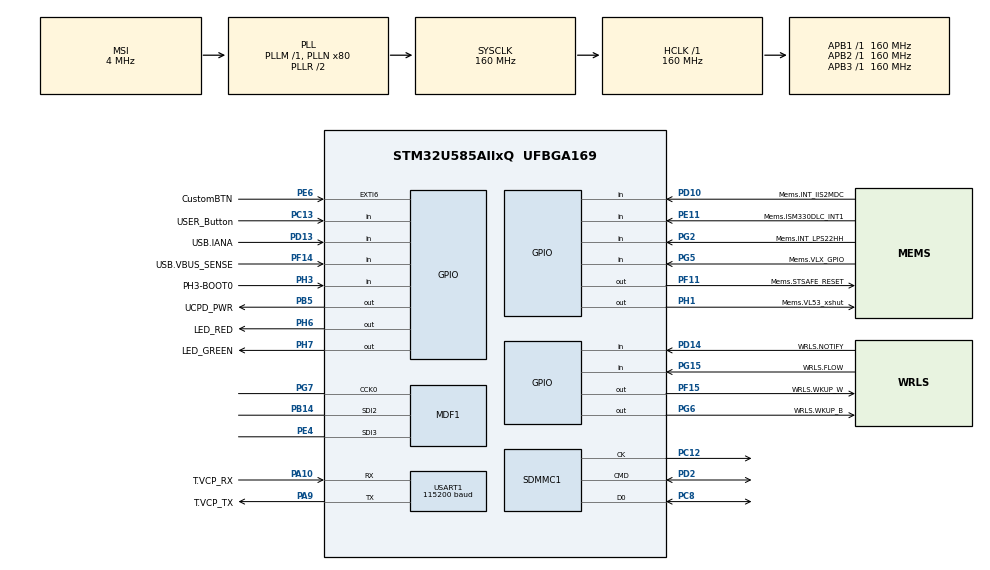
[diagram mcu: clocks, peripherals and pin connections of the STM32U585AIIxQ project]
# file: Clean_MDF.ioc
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CORTEX_M33_NS.userName=CORTEX_M33
GPDMA1.CIRCULARMODE_GPDMACH0=ENABLE
GPDMA1.ChannelPRIV_GPDMACH0=DMA_CHANNEL_NPRIV
GPDMA1.DATAHANDLING_GPDMACH0=NONE
GPDMA1.DESTBURSTLENGTH_GPDMACH0=1
GPDMA1.DESTDATAWIDTH_GPDMACH0=DMA_DEST_DATAWIDTH_HALFWORD
GPDMA1.DESTINC_GPDMACH0=DMA_DINC_INCREMENTED
GPDMA1.IPHANDLE_GPDMACH0-SIMPLEREQUEST_GPDMACH0=__NULL
GPDMA1.REQUEST_GPDMACH0=GPDMA1_REQUEST_MDF1_FLT0
GPDMA1.SRCBURSTLENGTH_GPDMACH0=1
GPDMA1.SRCDATAWIDTH_GPDMACH0=DMA_SRC_DATAWIDTH_HALFWORD
GPDMA1.TRANSFERALLOCATEDPORTDEST_GPDMACH0=DMA_DEST_ALLOCATED_PORT0
MDF1.MDF_COMPARAM_ActivationOutputClock=ENABLE
MDF1.MDF_COMPARAM_Divider=5
MDF1.MDF_COMPARAM_InterleavedFilters=3
MDF1.MDF_COMPARAM_Pins=MDF_OUTPUT_CLOCK_0
MDF1.MDF_COMPARAM_ProcClockDivider=1
MDF1.MDF_DFLT0_AcquisitionMode=MDF_MODE_ASYNC_CONT
MDF1.MDF_DFLT0_CIC_Mode=MDF_ONE_FILTER_SINC5
MDF1.MDF_DFLT0_Decimation=32
MDF1.MDF_DFLT0_FilterBistreamFront=FRONT_RISING
MDF1.MDF_DFLT0_HighPassCutOffFrequency=MDF_HPF_CUTOFF_0_00125FPCM
MDF1.MDF_DFLT0_HighPassFilterActivation=ENABLE
MDF1.MDF_DFLT0_IntegratorActivation=DISABLE
MDF1.MDF_DFLT0_ReshapeFilterActivation=ENABLE
MDF1.MDF_DFLT0_ReshapeFilterDecimationRatio=MDF_RSF_DECIMATION_RATIO_4
MDF1.MDF_DFLT0_SITF_Choice=MDF_DFLT_SITF2
MDF1.MDF_DFLT1_AcquisitionMode=MDF_MODE_ASYNC_CONT
MDF1.MDF_DFLT1_CIC_Mode=MDF_ONE_FILTER_SINC5
MDF1.MDF_DFLT1_Decimation=32
MDF1.MDF_DFLT1_FilterBistreamFront=FRONT_FALLING
MDF1.MDF_DFLT1_HighPassCutOffFrequency=MDF_HPF_CUTOFF_0_00125FPCM
MDF1.MDF_DFLT1_HighPassFilterActivation=ENABLE
MDF1.MDF_DFLT1_ReshapeFilterActivation=ENABLE
MDF1.MDF_DFLT1_ReshapeFilterDecimationRatio=MDF_RSF_DECIMATION_RATIO_4
MDF1.MDF_DFLT2_CIC_Mode=MDF_ONE_FILTER_SINC5
MDF1.MDF_DFLT2_Decimation=32
MDF1.MDF_DFLT2_HighPassCutOffFrequency=MDF_HPF_CUTOFF_0_00125FPCM
MDF1.MDF_DFLT2_HighPassFilterActivation=ENABLE
MDF1.MDF_DFLT2_ReshapeFilterActivation=ENABLE
MDF1.MDF_DFLT2_SITF_Choice=MDF_DFLT_SITF3
MDF1.MDF_DFLT3_CIC_Mode=MDF_ONE_FILTER_SINC5
MDF1.MDF_DFLT3_Decimation=32
MDF1.MDF_DFLT3_FilterBistreamFront=FRONT_FALLING
MDF1.MDF_DFLT3_HighPassCutOffFrequency=MDF_HPF_CUTOFF_0_00125FPCM
MDF1.MDF_DFLT3_HighPassFilterActivation=ENABLE
MDF1.MDF_DFLT3_ReshapeFilterActivation=ENABLE
MDF1.MDF_DFLT3_SITF_Choice=MDF_DFLT_SITF3
Mcu.Family=STM32U5
Mcu.Name=STM32U585AIIxQ
Mcu.Package=UFBGA169
NVIC.EXTI6_IRQn=true\:0\:0\:false\:false\:true\:true\:true\:true
NVIC.GPDMA1_Channel0_IRQn=true\:0\:0\:false\:false\:true\:false\:true\:true
NVIC.MDF1_FLT0_IRQn=true\:0\:0\:false\:false\:true\:true\:true\:true
NVIC.MDF1_FLT1_IRQn=true\:0\:0\:false\:false\:true\:true\:true\:true
NVIC.PriorityGroup=NVIC_PRIORITYGROUP_4
NVIC.SDMMC1_IRQn=true\:0\:0\:false\:false\:true\:true\:true\:true
PA10.GPIO_Label=T.VCP_RX
PA10.Mode=Asynchronous
PA10.Signal=USART1_RX
PA11.GPIO_Label=USB.C_P
PA11.Signal=USB_OTG_FS_DM
PA12.GPIO_Label=USB.C_P
PA12.Signal=USB_OTG_FS_DP
PA13\ (JTMS/SWDIO).GPIO_Label=T.SWDIO
PA13\ (JTMS/SWDIO).Signal=DEBUG_JTMS-SWDIO
PA14\ (JTCK/SWCLK).GPIO_Label=T.SWCLK
PA14\ (JTCK/SWCLK).Signal=DEBUG_JTCK-SWCLK
PA15\ (JTDI).GPIO_Label=USB.UCPD_CC1
PA15\ (JTDI).Signal=UCPD1_CC1
PA9.GPIO_Label=T.VCP_TX
PA9.Mode=Asynchronous
PA9.Signal=USART1_TX
PB1.GPIO_Label=MIC.SDIN0
PB1.Signal=MDF1_SDI0
PB10.GPIO_Label=OCTOSPI.R_CLK_P
PB10.Signal=OCTOSPIM_P1_CLK
PB11.GPIO_Label=OCTOSPI.R_NCS
PB11.Signal=OCTOSPIM_P1_NCS
PB12.GPIO_Label=WRLS.SPI2_NSS
PB12.Signal=SPI2_NSS
PB14.Mode=MOD_MDF_SITF2_CCK0
PB14.Signal=MDF1_SDI2
PB15.GPIO_Label=USB.UCPD_CC2
PB15.Signal=UCPD1_CC2
PB3\ (JTDO/TRACESWO).GPIO_Label=T.SWO
PB3\ (JTDO/TRACESWO).Signal=DEBUG_JTDO-SWO
PB5.GPIO_Label=UCPD_PWR
PB5.Signal=GPIO_Output
PB9.Signal=I2C1_SDA
PC12.Mode=SD_1_bit
PC12.Signal=SDMMC1_CK
PC13.GPIO_Label=USER_Button
PC13.Signal=GPIO_Input
PC14-OSC32_IN\ (PC14).GPIO_Label=PC14-OSC32_IN
PC14-OSC32_IN\ (PC14).Signal=RCC_OSC32_IN
PC15-OSC32_OUT\ (PC15).GPIO_Label=PC15-OSC32_OUT
PC15-OSC32_OUT\ (PC15).Signal=RCC_OSC32_OUT
PC3.GPIO_Label=OCTOSPI.R_IO6
PC3.Signal=OCTOSPIM_P1_IO6
PC8.Mode=SD_1_bit
PC8.Signal=SDMMC1_D0
PD1.GPIO_Label=WRLS.SPI2_SCK
PD1.Signal=SPI2_SCK
PD10.GPIO_Label=Mems.INT_IIS2MDC
PD10.Signal=GPIO_Input
PD13.GPIO_Label=USB.IANA
PD13.Signal=GPIO_Input
PD14.GPIO_Label=WRLS.NOTIFY
PD14.Signal=GPIO_Input
PD2.Mode=SD_1_bit
PD2.Signal=SDMMC1_CMD
PD3.GPIO_Label=WRLS.SPI2_MISO
PD3.Signal=SPI2_MISO
PD4.GPIO_Label=WRLS.SPI2_MOSI
PD4.Signal=SPI2_MOSI
PD7.GPIO_Label=OCTOSPI.R_IO7
PD7.Signal=OCTOSPIM_P1_IO7
PE10.GPIO_Label=MIC.SDINx
PE10.Signal=ADF1_SDI0
PE11.GPIO_Label=Mems.ISM330DLC_INT1
PE11.Signal=GPIO_Input
PE3.GPIO_Label=OCTOSPI.R_DQS
PE3.Signal=OCTOSPIM_P1_DQS
PE4.Mode=MOD_MDF_SITF3_CCK0
PE4.Signal=MDF1_SDI3
PE6.GPIO_Label=CustomBTN
PE6.GPIO_PuPd=GPIO_PULLDOWN
PE6.Signal=GPXTI6
PE9.GPIO_Label=MIC.CCK0
PE9.Signal=ADF1_CCK0
PF0.GPIO_Label=OCTOSPI.F_IO0
PF0.Signal=OCTOSPIM_P2_IO0
PF1.GPIO_Label=OCTOSPI.F_IO1
PF1.Signal=OCTOSPIM_P2_IO1
PF10.GPIO_Label=MIC.CCK1
PF10.Signal=MDF1_CCK1
PF11.GPIO_Label=Mems.STSAFE_RESET
PF11.Signal=GPIO_Output
PF12.GPIO_Label=OCTOSPI.F_DQS
PF12.Signal=OCTOSPIM_P2_DQS
PF14.GPIO_Label=USB.VBUS_SENSE
PF14.Signal=GPIO_Input
PF15.GPIO_Label=WRLS.WKUP_W
PF15.Signal=GPIO_Output
PF2.GPIO_Label=OCTOSPI.F_IO2
PF2.Signal=OCTOSPIM_P2_IO2
PF3.GPIO_Label=OCTOSPI.F_IO3
PF3.Signal=OCTOSPIM_P2_IO3
PF4.GPIO_Label=OCTOSPI.F_CLK_P
PF4.Signal=OCTOSPIM_P2_CLK
PF6.GPIO_Label=OCTOSPI.R_IO3
PF6.Signal=OCTOSPIM_P1_IO3
PF7.GPIO_Label=OCTOSPI.R_IO2
PF7.Signal=OCTOSPIM_P1_IO2
PF8.GPIO_Label=OCTOSPI.R_IO0
PF8.Signal=OCTOSPIM_P1_IO0
PF9.GPIO_Label=OCTOSPI.R_IO1
PF9.Signal=OCTOSPIM_P1_IO1
PG15.GPIO_Label=WRLS.FLOW
PG15.Signal=GPIO_Input
PG2.GPIO_Label=Mems.INT_LPS22HH
PG2.Signal=GPIO_Input
PG5.GPIO_Label=Mems.VLX_GPIO
PG5.Signal=GPIO_Input
PG6.GPIO_Label=WRLS.WKUP_B
PG6.Signal=GPIO_Output
PG7.Mode=MOD_MDF_CCK0
PG7.Signal=MDF1_CCK0
PH1-OSC_OUT\ (PH1).GPIO_Label=Mems.VL53_xshut
PH1-OSC_OUT\ (PH1).Signal=GPIO_Output
PH10.GPIO_Label=OCTOSPI.F_IO5
PH10.Signal=OCTOSPIM_P2_IO5
PH11.GPIO_Label=OCTOSPI.F_IO6
PH11.Signal=OCTOSPIM_P2_IO6
PH12.GPIO_Label=OCTOSPI.F_IO7
PH12.Signal=OCTOSPIM_P2_IO7
PH2.GPIO_Label=OCTOSPI.R_IO4
PH2.Signal=OCTOSPIM_P1_IO4
PH3-BOOT0.GPIO_Label=PH3-BOOT0
PH3-BOOT0.Signal=GPIO_Input
PH4.Signal=I2C2_SCL
PH5.Signal=I2C2_SDA
PH6.GPIO_Label=LED_RED
PH6.PinState=GPIO_PIN_RESET
PH6.Signal=GPIO_Output
PH7.GPIO_Label=LED_GREEN
PH7.PinState=GPIO_PIN_RESET
PH7.Signal=GPIO_Output
PH9.GPIO_Label=OCTOSPI.F_IO4
PH9.Signal=OCTOSPIM_P2_IO4
PI0.GPIO_Label=OCTOSPI.R_IO5
PI0.Signal=OCTOSPIM_P1_IO5
PI5.GPIO_Label=OCTOSPI.F_NCS
PI5.Signal=OCTOSPIM_P2_NCS
PWR.PowerMode=PWR_SMPS_SUPPLY
ProjectManager.HeapSize=0x200
ProjectManager.StackSize=0x400
ProjectManager.TargetToolchain=CMake
RCC.ADCFreq_Value=16000000
RCC.AHBFreq_Value=160000000
RCC.APB1Freq_Value=160000000
RCC.APB1TimFreq_Value=160000000
RCC.APB2Freq_Value=160000000
RCC.APB2TimFreq_Value=160000000
RCC.APB3Freq_Value=160000000
RCC.CortexFreq_Value=160000000
RCC.DACCLockSelectionVirtual=RCC_DAC1CLKSOURCE_LSI
RCC.EPOD_VALUE=4000000
RCC.HCLKFreq_Value=160000000
RCC.HSE_VALUE=16000000
RCC.HSI48_VALUE=48000000
RCC.HSI_VALUE=16000000
RCC.LSE_VALUE=32768
RCC.LSIDIV_VALUE=32000
RCC.MSIKClockRange=RCC_MSIKRANGE_3
RCC.MSI_VALUE=4000000
RCC.MdfClockSelection=RCC_MDF1CLKSOURCE_PLL1
RCC.PLL1P=31
RCC.PLL2FRACN=0
RCC.PLL3FRACN=0
RCC.PLL3N=85
RCC.PLL3Q=28
RCC.PLLFRACN=0
RCC.PLLN=80
RCC.SYSCLKFreq_VALUE=160000000
RCC.SYSCLKSource=RCC_SYSCLKSOURCE_PLLCLK
RCC.USBFreq_Value=48000000
RCC.VCOOutputFreq_Value=320000000
USART1.BaudRate=115200
USART1.VirtualMode-Asynchronous=VM_ASYNC
VP_GPDMA1_VS_GPDMACH0.Mode=SIMPLEREQUEST_GPDMACH0
VP_ICACHE_VS_ICACHE.Mode=DirectMappedCache
VP_LPBAMQUEUE_VS_QUEUE.Mode=QUEUEMODE
VP_LPBAM_VS_SIG1.Mode=SmartRun
VP_LPBAM_VS_SIG4.Mode=LPDMA1
VP_MDF1_VS_MDF_DFLT0.Mode=MOD_MDF_DFLT0
VP_MDF1_VS_MDF_DFLT1.Mode=MOD_MDF_DFLT1
VP_MDF1_VS_MDF_DFLT2.Mode=MOD_MDF_DFLT2
VP_MDF1_VS_MDF_DFLT3.Mode=MOD_MDF_DFLT3
VP_MEMORYMAP_VS_MEMORYMAP.Mode=CurAppReg
VP_PWR_VS_LPOM.Mode=PowerOptimisation
VP_PWR_VS_SECSignals.Mode=Security/Privilege
board=B-U585I-IOT02A

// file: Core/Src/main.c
/* USER CODE BEGIN Header */
/**
  ******************************************************************************
  * @file           : main.c
  * @bri%uef          : Main program body
  ******************************************************************************
  * @attention
  *
  * Copyright (c) 2025 STMicroelectronics.
  * All rights reserved.
  *
  * This software is licensed under terms that can be found in the LICENSE file
  * in the root directory of this software component.
  * If no LICENSE file comes with this software, it is provided AS-IS.
  *
  ******************************************************************************
  */
/* USER CODE END Header */
#include "main.h"

/* USER CODE BEGIN Includes */
#include <stdint.h>
#include <stdio.h>
#include <inttypes.h>
#include <math.h>
#include "app_pipeline.h"
#include "ff.h"
#include "sd_diskio_dma_standalone.h"
#include "stm32u5xx.h"
#include "stm32u5xx_hal.h"
#include "stm32u5xx_hal_conf.h"
#include "stm32u5xx_hal_def.h"
#include "stm32u5xx_hal_gpio.h"
#include "stm32u5xx_hal_mdf.h"
#include "stm32u5xx_hal_uart.h"
/* USER CODE END Includes */

MDF_HandleTypeDef MdfHandle0;
MDF_FilterConfigTypeDef MdfFilterConfig0;
MDF_HandleTypeDef MdfHandle1;
MDF_FilterConfigTypeDef MdfFilterConfig1;
MDF_HandleTypeDef MdfHandle2;
MDF_FilterConfigTypeDef MdfFilterConfig2;
MDF_HandleTypeDef MdfHandle3;
MDF_FilterConfigTypeDef MdfFilterConfig3;
DMA_NodeTypeDef Node_GPDMA1_Channel0;
DMA_QListTypeDef List_GPDMA1_Channel0;
DMA_HandleTypeDef handle_GPDMA1_Channel0;

SD_HandleTypeDef hsd1;

UART_HandleTypeDef huart1;

/* USER CODE BEGIN PV */
// flag for next audio
uint8_t NEXT_AUDIO = 0;
/* ----number of back to back recordings ----*/

uint32_t total = 4;
uint32_t time = 1;

/* -------------buffers for DMAs----(setup)---- */
#define SAMPLES_COUNT 4096

#define SAMPLES_BYTES SAMPLES_COUNT*2
#define HALFSAMPLES SAMPLES_COUNT/2
#define HALFSAMPLESBYTES SAMPLES_BYTES/2
volatile int16_t INTLVD[SAMPLES_COUNT] __attribute__((aligned(32)));
int8_t  INTLVD_ready = 1;
uint8_t first = 1;
int32_t bytes_recorded = 0;

uint8_t MDF_DMA_ERROR_FLAG = 0;

// uint16_t SDBUFFER1[SAMPLES_COUNT/2] __attribute__((aligned(32)));
// uint16_t SDBUFFER2[SAMPLES_COUNT/2] __attribute__((aligned(32)));
volatile uint16_t* SDBUFFER1 = (uint16_t*)INTLVD;
volatile uint16_t* SDBUFFER2 = (uint16_t*)INTLVD + HALFSAMPLES;

/* --------DMA FLAGS-------------*/
volatile uint8_t CPLT, HALFCPLT = 0;
uint8_t MDFTESTFLAG = 0;

/* USER CODE END PV */

void SystemClock_Config(void);
static void SystemPower_Config(void);
static void MX_GPIO_Init(void);
static void MX_GPDMA1_Init(void);
static void MX_ICACHE_Init(void);
static void MX_USART1_UART_Init(void);
static void MX_MDF1_Init(void);
static void MX_SDMMC1_SD_Init(void);

/* USER CODE BEGIN 0 */
  int _write(int file, char *ptr, int len)
  {
    HAL_UART_Transmit(&huart1, (uint8_t*)ptr, len, HAL_MAX_DELAY);

    return len;
  }
  void start_recording(uint32_t number);

/* USER CODE END 0 */

int main(void)
{

  /* MCU Configuration--------------------------------------------------------*/

  /* Reset of all peripherals, Initializes the Flash interface and the Systick. */
  HAL_Init();

  /* Configure the System Power */
  SystemPower_Config();

  /* Configure the system clock */
  SystemClock_Config();

  /* Initialize all configured peripherals */
  MX_GPIO_Init();
  MX_GPDMA1_Init();
  MX_ICACHE_Init();
  MX_USART1_UART_Init();
  MX_MDF1_Init();
  MX_SDMMC1_SD_Init();
  /* USER CODE BEGIN 2 */

  /* -----------SETUP THE MICROPHONE ACQUISITION--------------*/

  // auto st = HAL_SD_GetCardInfo(&hsd1, &pCardInfo);
  // set up the mdf's dma transfer config
  MDF_DmaConfigTypeDef pDmaConfig;
  pDmaConfig.MsbOnly = ENABLE;
  pDmaConfig.Address = (uint32_t) INTLVD;
  pDmaConfig.DataLength = SAMPLES_COUNT * 2;

  if(SD_Pipeline_Init() != PIPELINE_OK){
    printf("init of sd failed\n");
  }

void start_recording(uint32_t number){

  /*--------------INITIALISE WAV FILE TO BE WRITTEN----------*/

  if(SD_Pipeline_NewRec("birda", number, 16000, 4, 16,time)!=PIPELINE_OK){
    printf("init of pipeline failed\n");
  }

  /* start interleaved transfer  */
  if(HAL_MDF_AcqStart(&MdfHandle1, &MdfFilterConfig1) != HAL_OK){
    printf("2nd filter failed\n");
    HAL_Delay(HAL_MAX_DELAY);
  }
  if(HAL_MDF_AcqStart(&MdfHandle2, &MdfFilterConfig2) != HAL_OK){
    printf("3rd filter failed\n");
    HAL_Delay(HAL_MAX_DELAY);
  }
  if(HAL_MDF_AcqStart(&MdfHandle3, &MdfFilterConfig3) != HAL_OK){
    printf("4th filter failed\n");
    HAL_Delay(HAL_MAX_DELAY);
  }
  // sart filter 0 with DMA as the interleaved data goes through filter 0
  if(HAL_MDF_AcqStart_DMA(&MdfHandle0, &MdfFilterConfig0, &pDmaConfig) != HAL_OK){
    printf("DMA failed\n");
    f_close(&SD_File_PIPELINE);
  }
}

uint32_t iteration = total;

printf("starting new dataset!\n");

  /* USER CODE END 2 */

  /* Infinite loop */
  /* USER CODE BEGIN WHILE */

  /* --------- test of microphone without SDCard --------*/
  if(MDFTESTFLAG){
    printf("debug initiated\n");
    while(1){
      if(CPLT){
        CPLT = 0;
        HAL_UART_Transmit(&huart1, (uint8_t*)INTLVD, sizeof(INTLVD), HAL_MAX_DELAY);
      }
    }
  }

  /*-----------HANDLE THE SD CARD TRANSFER LOGIC-----------------*/
    while (1)
    {

      //if transfer complete
      if (INTLVD_ready)
      {
        /* -------finish current transfer --------*/
        if(!first){
        HAL_MDF_AcqStop_DMA(&MdfHandle0);
        HAL_MDF_AcqStop(&MdfHandle1);
        HAL_MDF_AcqStop(&MdfHandle2);
        HAL_MDF_AcqStop(&MdfHandle3);

        SD_Pipeline_StopRec();
        printf("[Debug] SUCCESS! File creation complete\n");
        }
        else{
          first = 0;
        }
        INTLVD_ready = 0;

        /*----if necessary start next transfer ----*/
        if(iteration > 0){

          iteration--;

          // RECORDING
          start_recording(total - iteration);
          printf("press btn for new recording\n");
          NEXT_AUDIO = 0;
          // Loop while waiting for button to be pressed to initiate next recoriding
          while(NEXT_AUDIO == 0){}

          printf("Started recording %ld!\n\n%ld recordings left\n\n", total - iteration, iteration);
          // // start recording before countdown, to avoid the starting blip
          // // COUNT DOWN BEFORE RECORDING
          // int timer = 2;
          // printf("recording # %ld of %ld \n", total - iteration, total);
          // for(int i = timer; i>0; i--){
          //   printf("%d...\n", i);
          //   HAL_Delay(1000);
          // }
          // printf("GO!\n");

        }
        else{
          printf("COMPLETE! :) \n");
          while(1){
            HAL_Delay(500);
            HAL_GPIO_TogglePin(LED_GREEN_GPIO_Port, LED_GREEN_Pin);
          }
        }

      }

      if (MDF_DMA_ERROR_FLAG) {
        printf("MDF DMA ERROR");
        MDF_DMA_ERROR_FLAG = 0;

        while(1){
        HAL_GPIO_TogglePin(LED_RED_GPIO_Port, LED_RED_Pin);
        HAL_Delay(200);
        }
      }
      //HANDLE DMA INTERRUPT CALLS
      if(HALFCPLT){
        //unset flag
        HALFCPLT = 0;

        //calculate how many bytes are left in audio recording
        int32_t temp = (bytes_to_read<HALFSAMPLESBYTES) ? bytes_to_read : HALFSAMPLESBYTES;

        //if more than zero, continue - else set flag for completed transfer
        if(temp > 0){
        if(SD_Pipeline_Write((uint8_t*) SDBUFFER1, temp) != PIPELINE_OK)MDF_DMA_ERROR_FLAG = 1;

        // decrement bytes to read
        bytes_to_read = bytes_to_read - temp;
        }
        else{
          INTLVD_ready = 1;
        }
      }

      //duplicate above logic
      if(CPLT){
        // int32_t write_start = HAL_GetTick();
        //unset flag
        CPLT = 0;
        //calculate how many bytes are left in audio recording
        int32_t temp = (bytes_to_read<HALFSAMPLESBYTES) ? bytes_to_read : HALFSAMPLESBYTES;

        //if more than zero, continue - else set flag for completed transfer
        if(temp > 0){
        if(SD_Pipeline_Write((uint8_t*) SDBUFFER2, temp) != PIPELINE_OK) MDF_DMA_ERROR_FLAG = 1;

        //decrement bytes to read
        bytes_to_read = bytes_to_read - temp;
        // int32_t write_end = HAL_GetTick();
        // printf("wrote %li bytes in %li ms\n",temp, write_end-write_start);
        }
        else{
          INTLVD_ready = 1;
        }
      }
    }

    /* USER CODE END WHILE */

}

void SystemClock_Config(void)
{
  RCC_OscInitTypeDef RCC_OscInitStruct = {0};
  RCC_ClkInitTypeDef RCC_ClkInitStruct = {0};

  /** Configure the main internal regulator output voltage
  */
  if (HAL_PWREx_ControlVoltageScaling(PWR_REGULATOR_VOLTAGE_SCALE1) != HAL_OK)
  {
    Error_Handler();
  }

  /** Initializes the CPU, AHB and APB buses clocks
  */
  RCC_OscInitStruct.OscillatorType = RCC_OSCILLATORTYPE_MSI;
  RCC_OscInitStruct.MSIState = RCC_MSI_ON;
  RCC_OscInitStruct.MSICalibrationValue = RCC_MSICALIBRATION_DEFAULT;
  RCC_OscInitStruct.MSIClockRange = RCC_MSIRANGE_4;
  RCC_OscInitStruct.PLL.PLLState = RCC_PLL_ON;
  RCC_OscInitStruct.PLL.PLLSource = RCC_PLLSOURCE_MSI;
  RCC_OscInitStruct.PLL.PLLMBOOST = RCC_PLLMBOOST_DIV1;
  RCC_OscInitStruct.PLL.PLLM = 1;
  RCC_OscInitStruct.PLL.PLLN = 80;
  RCC_OscInitStruct.PLL.PLLP = 31;
  RCC_OscInitStruct.PLL.PLLQ = 2;
  RCC_OscInitStruct.PLL.PLLR = 2;
  RCC_OscInitStruct.PLL.PLLRGE = RCC_PLLVCIRANGE_0;
  RCC_OscInitStruct.PLL.PLLFRACN = 0;
  if (HAL_RCC_OscConfig(&RCC_OscInitStruct) != HAL_OK)
  {
    Error_Handler();
  }

  /** Initializes the CPU, AHB and APB buses clocks
  */
  RCC_ClkInitStruct.ClockType = RCC_CLOCKTYPE_HCLK|RCC_CLOCKTYPE_SYSCLK
                              |RCC_CLOCKTYPE_PCLK1|RCC_CLOCKTYPE_PCLK2
                              |RCC_CLOCKTYPE_PCLK3;
  RCC_ClkInitStruct.SYSCLKSource = RCC_SYSCLKSOURCE_PLLCLK;
  RCC_ClkInitStruct.AHBCLKDivider = RCC_SYSCLK_DIV1;
  RCC_ClkInitStruct.APB1CLKDivider = RCC_HCLK_DIV1;
  RCC_ClkInitStruct.APB2CLKDivider = RCC_HCLK_DIV1;
  RCC_ClkInitStruct.APB3CLKDivider = RCC_HCLK_DIV1;

  if (HAL_RCC_ClockConfig(&RCC_ClkInitStruct, FLASH_LATENCY_4) != HAL_OK)
  {
    Error_Handler();
  }
}

/**
  * @brief Power Configuration
  * @retval None
  */
static void SystemPower_Config(void)
{
  HAL_PWREx_EnableVddIO2();

  /*
   * Switch to SMPS regulator instead of LDO
   */
  if (HAL_PWREx_ConfigSupply(PWR_SMPS_SUPPLY) != HAL_OK)
  {
    Error_Handler();
  }
}

static void MX_GPDMA1_Init(void)
{

  /* Peripheral clock enable */
  __HAL_RCC_GPDMA1_CLK_ENABLE();

  /* GPDMA1 interrupt Init */
    HAL_NVIC_SetPriority(GPDMA1_Channel0_IRQn, 0, 0);
    HAL_NVIC_EnableIRQ(GPDMA1_Channel0_IRQn);

}

static void MX_ICACHE_Init(void)
{

  /** Enable instruction cache in 1-way (direct mapped cache)
  */
  if (HAL_ICACHE_ConfigAssociativityMode(ICACHE_1WAY) != HAL_OK)
  {
    Error_Handler();
  }
  if (HAL_ICACHE_Enable() != HAL_OK)
  {
    Error_Handler();
  }

}

static void MX_MDF1_Init(void)
{

  /* USER CODE BEGIN MDF1_Init 0 */
  MdfHandle0.Init.FilterBistream = MDF_BITSTREAM2_RISING; // mic with nice headers
  MdfHandle1.Init.FilterBistream = MDF_BITSTREAM2_FALLING; // mic with habsburg headers

  /* USER CODE END MDF1_Init 0 */

  /**
    MdfHandle0 structure initialization and HAL_MDF_Init function call
  */
  MdfHandle0.Instance = MDF1_Filter0;
  MdfHandle0.Init.CommonParam.InterleavedFilters = 3;
  MdfHandle0.Init.CommonParam.ProcClockDivider = 1;
  MdfHandle0.Init.CommonParam.OutputClock.Activation = ENABLE;
  MdfHandle0.Init.CommonParam.OutputClock.Pins = MDF_OUTPUT_CLOCK_0;
  MdfHandle0.Init.CommonParam.OutputClock.Divider = 5;
  MdfHandle0.Init.CommonParam.OutputClock.Trigger.Activation = DISABLE;
  MdfHandle0.Init.SerialInterface.Activation = DISABLE;
  if (HAL_MDF_Init(&MdfHandle0) != HAL_OK)
  {
    Error_Handler();
  }

  /**
    MdfFilterConfig0, MdfOldConfig0 and/or MdfScdConfig0 structures initialization

    WARNING : only structures are filled, no specific init function call for filter
  */
  MdfFilterConfig0.DataSource = MDF_DATA_SOURCE_BSMX;
  MdfFilterConfig0.Delay = 0;
  MdfFilterConfig0.CicMode = MDF_ONE_FILTER_SINC5;
  MdfFilterConfig0.DecimationRatio = 32;
  MdfFilterConfig0.Offset = 0;
  MdfFilterConfig0.Gain = 0;
  MdfFilterConfig0.ReshapeFilter.Activation = ENABLE;
  MdfFilterConfig0.ReshapeFilter.DecimationRatio = MDF_RSF_DECIMATION_RATIO_4;
  MdfFilterConfig0.HighPassFilter.Activation = ENABLE;
  MdfFilterConfig0.HighPassFilter.CutOffFrequency = MDF_HPF_CUTOFF_0_00125FPCM;
  MdfFilterConfig0.Integrator.Activation = DISABLE;
  MdfFilterConfig0.SoundActivity.Activation = DISABLE;
  MdfFilterConfig0.AcquisitionMode = MDF_MODE_ASYNC_CONT;
  MdfFilterConfig0.FifoThreshold = MDF_FIFO_THRESHOLD_NOT_EMPTY;
  MdfFilterConfig0.DiscardSamples = 0;

  /**
    MdfHandle1 structure initialization and HAL_MDF_Init function call
  */
  MdfHandle1.Instance = MDF1_Filter1;
  MdfHandle1.Init.CommonParam.InterleavedFilters = 3;
  MdfHandle1.Init.CommonParam.ProcClockDivider = 1;
  MdfHandle1.Init.CommonParam.OutputClock.Activation = ENABLE;
  MdfHandle1.Init.CommonParam.OutputClock.Pins = MDF_OUTPUT_CLOCK_0;
  MdfHandle1.Init.CommonParam.OutputClock.Divider = 5;
  MdfHandle1.Init.CommonParam.OutputClock.Trigger.Activation = DISABLE;
  MdfHandle1.Init.SerialInterface.Activation = DISABLE;
  if (HAL_MDF_Init(&MdfHandle1) != HAL_OK)
  {
    Error_Handler();
  }

  /**
    MdfFilterConfig1, MdfOldConfig1 and/or MdfScdConfig1 structures initialization

    WARNING : only structures are filled, no specific init function call for filter
  */
  MdfFilterConfig1.DataSource = MDF_DATA_SOURCE_BSMX;
  MdfFilterConfig1.Delay = 0;
  MdfFilterConfig1.CicMode = MDF_ONE_FILTER_SINC5;
  MdfFilterConfig1.DecimationRatio = 32;
  MdfFilterConfig1.Offset = 0;
  MdfFilterConfig1.Gain = 0;
  MdfFilterConfig1.ReshapeFilter.Activation = ENABLE;
  MdfFilterConfig1.ReshapeFilter.DecimationRatio = MDF_RSF_DECIMATION_RATIO_4;
  MdfFilterConfig1.HighPassFilter.Activation = ENABLE;
  MdfFilterConfig1.HighPassFilter.CutOffFrequency = MDF_HPF_CUTOFF_0_00125FPCM;
  MdfFilterConfig1.Integrator.Activation = DISABLE;
  MdfFilterConfig1.AcquisitionMode = MDF_MODE_ASYNC_CONT;
  MdfFilterConfig1.FifoThreshold = MDF_FIFO_THRESHOLD_NOT_EMPTY;
  MdfFilterConfig1.DiscardSamples = 0;

  /**
    MdfHandle2 structure initialization and HAL_MDF_Init function call
  */
  MdfHandle2.Instance = MDF1_Filter2;
  MdfHandle2.Init.CommonParam.InterleavedFilters = 3;
  MdfHandle2.Init.CommonParam.ProcClockDivider = 1;
  MdfHandle2.Init.CommonParam.OutputClock.Activation = ENABLE;
  MdfHandle2.Init.CommonParam.OutputClock.Pins = MDF_OUTPUT_CLOCK_0;
  MdfHandle2.Init.CommonParam.OutputClock.Divider = 5;
  MdfHandle2.Init.CommonParam.OutputClock.Trigger.Activation = DISABLE;
  MdfHandle2.Init.SerialInterface.Activation = ENABLE;
  MdfHandle2.Init.SerialInterface.Mode = MDF_SITF_LF_MASTER_SPI_MODE;
  MdfHandle2.Init.SerialInterface.ClockSource = MDF_SITF_CCK0_SOURCE;
  MdfHandle2.Init.SerialInterface.Threshold = 4;
  MdfHandle2.Init.FilterBistream = MDF_BITSTREAM3_RISING;
  if (HAL_MDF_Init(&MdfHandle2) != HAL_OK)
  {
    Error_Handler();
  }

  /**
    MdfFilterConfig2, MdfOldConfig2 and/or MdfScdConfig2 structures initialization

    WARNING : only structures are filled, no specific init function call for filter
  */
  MdfFilterConfig2.DataSource = MDF_DATA_SOURCE_BSMX;
  MdfFilterConfig2.Delay = 0;
  MdfFilterConfig2.CicMode = MDF_ONE_FILTER_SINC5;
  MdfFilterConfig2.DecimationRatio = 32;
  MdfFilterConfig2.Offset = 0;
  MdfFilterConfig2.Gain = 0;
  MdfFilterConfig2.ReshapeFilter.Activation = ENABLE;
  MdfFilterConfig2.ReshapeFilter.DecimationRatio = MDF_RSF_DECIMATION_RATIO_4;
  MdfFilterConfig2.HighPassFilter.Activation = ENABLE;
  MdfFilterConfig2.HighPassFilter.CutOffFrequency = MDF_HPF_CUTOFF_0_00125FPCM;
  MdfFilterConfig2.Integrator.Activation = DISABLE;
  MdfFilterConfig2.SoundActivity.Activation = DISABLE;
  MdfFilterConfig2.AcquisitionMode = MDF_MODE_ASYNC_CONT;
  MdfFilterConfig2.FifoThreshold = MDF_FIFO_THRESHOLD_NOT_EMPTY;
  MdfFilterConfig2.DiscardSamples = 0;

  /**
    MdfHandle3 structure initialization and HAL_MDF_Init function call
  */
  MdfHandle3.Instance = MDF1_Filter3;
  MdfHandle3.Init.CommonParam.InterleavedFilters = 3;
  MdfHandle3.Init.CommonParam.ProcClockDivider = 1;
  MdfHandle3.Init.CommonParam.OutputClock.Activation = ENABLE;
  MdfHandle3.Init.CommonParam.OutputClock.Pins = MDF_OUTPUT_CLOCK_0;
  MdfHandle3.Init.CommonParam.OutputClock.Divider = 5;
  MdfHandle3.Init.CommonParam.OutputClock.Trigger.Activation = DISABLE;
  MdfHandle3.Init.SerialInterface.Activation = ENABLE;
  MdfHandle3.Init.SerialInterface.Mode = MDF_SITF_LF_MASTER_SPI_MODE;
  MdfHandle3.Init.SerialInterface.ClockSource = MDF_SITF_CCK0_SOURCE;
  MdfHandle3.Init.SerialInterface.Threshold = 4;
  MdfHandle3.Init.FilterBistream = MDF_BITSTREAM3_FALLING;
  if (HAL_MDF_Init(&MdfHandle3) != HAL_OK)
  {
    Error_Handler();
  }

  /**
    MdfFilterConfig3, MdfOldConfig3 and/or MdfScdConfig3 structures initialization

    WARNING : only structures are filled, no specific init function call for filter
  */
  MdfFilterConfig3.DataSource = MDF_DATA_SOURCE_BSMX;
  MdfFilterConfig3.Delay = 0;
  MdfFilterConfig3.CicMode = MDF_ONE_FILTER_SINC5;
  MdfFilterConfig3.DecimationRatio = 32;
  MdfFilterConfig3.Offset = 0;
  MdfFilterConfig3.Gain = 0;
  MdfFilterConfig3.ReshapeFilter.Activation = ENABLE;
  MdfFilterConfig3.ReshapeFilter.DecimationRatio = MDF_RSF_DECIMATION_RATIO_4;
  MdfFilterConfig3.HighPassFilter.Activation = ENABLE;
  MdfFilterConfig3.HighPassFilter.CutOffFrequency = MDF_HPF_CUTOFF_0_00125FPCM;
  MdfFilterConfig3.Integrator.Activation = DISABLE;
  MdfFilterConfig3.SoundActivity.Activation = DISABLE;
  MdfFilterConfig3.AcquisitionMode = MDF_MODE_ASYNC_CONT;
  MdfFilterConfig3.FifoThreshold = MDF_FIFO_THRESHOLD_NOT_EMPTY;
  MdfFilterConfig3.DiscardSamples = 0;
  /* USER CODE BEGIN MDF1_Init 2 */
  // __HAL_LINKDMA(&MdfHandle0, hdma, handle_GPDMA1_Channel0);

  /* USER CODE END MDF1_Init 2 */

}

static void MX_SDMMC1_SD_Init(void)
{

  hsd1.Instance = SDMMC1;
  hsd1.Init.ClockEdge = SDMMC_CLOCK_EDGE_RISING;
  hsd1.Init.ClockPowerSave = SDMMC_CLOCK_POWER_SAVE_DISABLE;
  hsd1.Init.BusWide = SDMMC_BUS_WIDE_1B;
  hsd1.Init.HardwareFlowControl = SDMMC_HARDWARE_FLOW_CONTROL_DISABLE;
  hsd1.Init.ClockDiv = 0;
  if (HAL_SD_Init(&hsd1) != HAL_OK)
  {
    Error_Handler();
  }

}

static void MX_USART1_UART_Init(void)
{

  huart1.Instance = USART1;
  huart1.Init.BaudRate = 115200;
  huart1.Init.WordLength = UART_WORDLENGTH_8B;
  huart1.Init.StopBits = UART_STOPBITS_1;
  huart1.Init.Parity = UART_PARITY_NONE;
  huart1.Init.Mode = UART_MODE_TX_RX;
  huart1.Init.HwFlowCtl = UART_HWCONTROL_NONE;
  huart1.Init.OverSampling = UART_OVERSAMPLING_16;
  huart1.Init.OneBitSampling = UART_ONE_BIT_SAMPLE_DISABLE;
  huart1.Init.ClockPrescaler = UART_PRESCALER_DIV1;
  huart1.AdvancedInit.AdvFeatureInit = UART_ADVFEATURE_NO_INIT;
  if (HAL_UART_Init(&huart1) != HAL_OK)
  {
    Error_Handler();
  }
  if (HAL_UARTEx_SetTxFifoThreshold(&huart1, UART_TXFIFO_THRESHOLD_1_8) != HAL_OK)
  {
    Error_Handler();
  }
  if (HAL_UARTEx_SetRxFifoThreshold(&huart1, UART_RXFIFO_THRESHOLD_1_8) != HAL_OK)
  {
    Error_Handler();
  }
  if (HAL_UARTEx_DisableFifoMode(&huart1) != HAL_OK)
  {
    Error_Handler();
  }

}

static void MX_GPIO_Init(void)
{
  GPIO_InitTypeDef GPIO_InitStruct = {0};

  /* GPIO Ports Clock Enable */
  __HAL_RCC_GPIOG_CLK_ENABLE();
  __HAL_RCC_GPIOA_CLK_ENABLE();
  __HAL_RCC_GPIOI_CLK_ENABLE();
  __HAL_RCC_GPIOH_CLK_ENABLE();
  __HAL_RCC_GPIOE_CLK_ENABLE();
  __HAL_RCC_GPIOB_CLK_ENABLE();
  __HAL_RCC_GPIOD_CLK_ENABLE();
  __HAL_RCC_GPIOC_CLK_ENABLE();
  __HAL_RCC_GPIOF_CLK_ENABLE();

  /*Configure GPIO pin Output Level */
  HAL_GPIO_WritePin(UCPD_PWR_GPIO_Port, UCPD_PWR_Pin, GPIO_PIN_RESET);

  /*Configure GPIO pin Output Level */
  HAL_GPIO_WritePin(GPIOH, LED_RED_Pin|LED_GREEN_Pin|Mems_VL53_xshut_Pin, GPIO_PIN_RESET);

  /*Configure GPIO pin Output Level */
  HAL_GPIO_WritePin(WRLS_WKUP_B_GPIO_Port, WRLS_WKUP_B_Pin, GPIO_PIN_RESET);

  /*Configure GPIO pin Output Level */
  HAL_GPIO_WritePin(GPIOF, Mems_STSAFE_RESET_Pin|WRLS_WKUP_W_Pin, GPIO_PIN_RESET);

  /*Configure GPIO pins : WRLS_FLOW_Pin Mems_VLX_GPIO_Pin Mems_INT_LPS22HH_Pin */
  GPIO_InitStruct.Pin = WRLS_FLOW_Pin|Mems_VLX_GPIO_Pin|Mems_INT_LPS22HH_Pin;
  GPIO_InitStruct.Mode = GPIO_MODE_INPUT;
  GPIO_InitStruct.Pull = GPIO_NOPULL;
  HAL_GPIO_Init(GPIOG, &GPIO_InitStruct);

  /*Configure GPIO pin : USB_UCPD_CC1_Pin */
  GPIO_InitStruct.Pin = USB_UCPD_CC1_Pin;
  GPIO_InitStruct.Mode = GPIO_MODE_ANALOG;
  GPIO_InitStruct.Pull = GPIO_NOPULL;
  HAL_GPIO_Init(USB_UCPD_CC1_GPIO_Port, &GPIO_InitStruct);

  /*Configure GPIO pin : OCTOSPI_F_NCS_Pin */
  GPIO_InitStruct.Pin = OCTOSPI_F_NCS_Pin;
  GPIO_InitStruct.Mode = GPIO_MODE_AF_PP;
  GPIO_InitStruct.Pull = GPIO_NOPULL;
  GPIO_InitStruct.Speed = GPIO_SPEED_FREQ_VERY_HIGH;
  GPIO_InitStruct.Alternate = GPIO_AF5_OCTOSPI2;
  HAL_GPIO_Init(OCTOSPI_F_NCS_GPIO_Port, &GPIO_InitStruct);

  /*Configure GPIO pin : OCTOSPI_R_IO5_Pin */
  GPIO_InitStruct.Pin = OCTOSPI_R_IO5_Pin;
  GPIO_InitStruct.Mode = GPIO_MODE_AF_PP;
  GPIO_InitStruct.Pull = GPIO_NOPULL;
  GPIO_InitStruct.Speed = GPIO_SPEED_FREQ_VERY_HIGH;
  GPIO_InitStruct.Alternate = GPIO_AF3_OCTOSPI1;
  HAL_GPIO_Init(OCTOSPI_R_IO5_GPIO_Port, &GPIO_InitStruct);

  /*Configure GPIO pins : OCTOSPI_F_IO7_Pin OCTOSPI_F_IO5_Pin OCTOSPI_F_IO6_Pin OCTOSPI_F_IO4_Pin */
  GPIO_InitStruct.Pin = OCTOSPI_F_IO7_Pin|OCTOSPI_F_IO5_Pin|OCTOSPI_F_IO6_Pin|OCTOSPI_F_IO4_Pin;
  GPIO_InitStruct.Mode = GPIO_MODE_AF_PP;
  GPIO_InitStruct.Pull = GPIO_NOPULL;
  GPIO_InitStruct.Speed = GPIO_SPEED_FREQ_VERY_HIGH;
  GPIO_InitStruct.Alternate = GPIO_AF5_OCTOSPI2;
  HAL_GPIO_Init(GPIOH, &GPIO_InitStruct);

  /*Configure GPIO pin : PH3_BOOT0_Pin */
  GPIO_InitStruct.Pin = PH3_BOOT0_Pin;
  GPIO_InitStruct.Mode = GPIO_MODE_INPUT;
  GPIO_InitStruct.Pull = GPIO_NOPULL;
  HAL_GPIO_Init(PH3_BOOT0_GPIO_Port, &GPIO_InitStruct);

  /*Configure GPIO pin : UCPD_PWR_Pin */
  GPIO_InitStruct.Pin = UCPD_PWR_Pin;
  GPIO_InitStruct.Mode = GPIO_MODE_OUTPUT_PP;
  GPIO_InitStruct.Pull = GPIO_NOPULL;
  GPIO_InitStruct.Speed = GPIO_SPEED_FREQ_LOW;
  HAL_GPIO_Init(UCPD_PWR_GPIO_Port, &GPIO_InitStruct);

  /*Configure GPIO pins : WRLS_SPI2_MOSI_Pin WRLS_SPI2_MISO_Pin WRLS_SPI2_SCK_Pin */
  GPIO_InitStruct.Pin = WRLS_SPI2_MOSI_Pin|WRLS_SPI2_MISO_Pin|WRLS_SPI2_SCK_Pin;
  GPIO_InitStruct.Mode = GPIO_MODE_AF_PP;
  GPIO_InitStruct.Pull = GPIO_NOPULL;
  GPIO_InitStruct.Speed = GPIO_SPEED_FREQ_LOW;
  GPIO_InitStruct.Alternate = GPIO_AF5_SPI2;
  HAL_GPIO_Init(GPIOD, &GPIO_InitStruct);

  /*Configure GPIO pin : OCTOSPI_R_DQS_Pin */
  GPIO_InitStruct.Pin = OCTOSPI_R_DQS_Pin;
  GPIO_InitStruct.Mode = GPIO_MODE_AF_PP;
  GPIO_InitStruct.Pull = GPIO_NOPULL;
  GPIO_InitStruct.Speed = GPIO_SPEED_FREQ_VERY_HIGH;
  GPIO_InitStruct.Alternate = GPIO_AF3_OCTOSPI1;
  HAL_GPIO_Init(OCTOSPI_R_DQS_GPIO_Port, &GPIO_InitStruct);

  /*Configure GPIO pin : PB9 */
  GPIO_InitStruct.Pin = GPIO_PIN_9;
  GPIO_InitStruct.Mode = GPIO_MODE_AF_OD;
  GPIO_InitStruct.Pull = GPIO_NOPULL;
  GPIO_InitStruct.Speed = GPIO_SPEED_FREQ_LOW;
  GPIO_InitStruct.Alternate = GPIO_AF4_I2C1;
  HAL_GPIO_Init(GPIOB, &GPIO_InitStruct);

  /*Configure GPIO pin : OCTOSPI_R_IO7_Pin */
  GPIO_InitStruct.Pin = OCTOSPI_R_IO7_Pin;
  GPIO_InitStruct.Mode = GPIO_MODE_AF_PP;
  GPIO_InitStruct.Pull = GPIO_NOPULL;
  GPIO_InitStruct.Speed = GPIO_SPEED_FREQ_VERY_HIGH;
  GPIO_InitStruct.Alternate = GPIO_AF10_OCTOSPI1;
  HAL_GPIO_Init(OCTOSPI_R_IO7_GPIO_Port, &GPIO_InitStruct);

  /*Configure GPIO pins : OCTOSPI_F_IO0_Pin OCTOSPI_F_IO1_Pin OCTOSPI_F_IO2_Pin OCTOSPI_F_IO3_Pin
                           OCTOSPI_F_CLK_P_Pin OCTOSPI_F_DQS_Pin */
  GPIO_InitStruct.Pin = OCTOSPI_F_IO0_Pin|OCTOSPI_F_IO1_Pin|OCTOSPI_F_IO2_Pin|OCTOSPI_F_IO3_Pin
                          |OCTOSPI_F_CLK_P_Pin|OCTOSPI_F_DQS_Pin;
  GPIO_InitStruct.Mode = GPIO_MODE_AF_PP;
  GPIO_InitStruct.Pull = GPIO_NOPULL;
  GPIO_InitStruct.Speed = GPIO_SPEED_FREQ_VERY_HIGH;
  GPIO_InitStruct.Alternate = GPIO_AF5_OCTOSPI2;
  HAL_GPIO_Init(GPIOF, &GPIO_InitStruct);

  /*Configure GPIO pin : USER_Button_Pin */
  GPIO_InitStruct.Pin = USER_Button_Pin;
  GPIO_InitStruct.Mode = GPIO_MODE_INPUT;
  GPIO_InitStruct.Pull = GPIO_NOPULL;
  HAL_GPIO_Init(USER_Button_GPIO_Port, &GPIO_InitStruct);

  /*Configure GPIO pin : CustomBTN_Pin */
  GPIO_InitStruct.Pin = CustomBTN_Pin;
  GPIO_InitStruct.Mode = GPIO_MODE_IT_RISING;
  GPIO_InitStruct.Pull = GPIO_PULLDOWN;
  HAL_GPIO_Init(CustomBTN_GPIO_Port, &GPIO_InitStruct);

  /*Configure GPIO pins : PH4 PH5 */
  GPIO_InitStruct.Pin = GPIO_PIN_4|GPIO_PIN_5;
  GPIO_InitStruct.Mode = GPIO_MODE_AF_OD;
  GPIO_InitStruct.Pull = GPIO_NOPULL;
  GPIO_InitStruct.Speed = GPIO_SPEED_FREQ_LOW;
  GPIO_InitStruct.Alternate = GPIO_AF4_I2C2;
  HAL_GPIO_Init(GPIOH, &GPIO_InitStruct);

  /*Configure GPIO pins : LED_RED_Pin LED_GREEN_Pin Mems_VL53_xshut_Pin */
  GPIO_InitStruct.Pin = LED_RED_Pin|LED_GREEN_Pin|Mems_VL53_xshut_Pin;
  GPIO_InitStruct.Mode = GPIO_MODE_OUTPUT_PP;
  GPIO_InitStruct.Pull = GPIO_NOPULL;
  GPIO_InitStruct.Speed = GPIO_SPEED_FREQ_LOW;
  HAL_GPIO_Init(GPIOH, &GPIO_InitStruct);

  /*Configure GPIO pins : OCTOSPI_R_IO0_Pin OCTOSPI_R_IO2_Pin OCTOSPI_R_IO1_Pin OCTOSPI_R_IO3_Pin */
  GPIO_InitStruct.Pin = OCTOSPI_R_IO0_Pin|OCTOSPI_R_IO2_Pin|OCTOSPI_R_IO1_Pin|OCTOSPI_R_IO3_Pin;
  GPIO_InitStruct.Mode = GPIO_MODE_AF_PP;
  GPIO_InitStruct.Pull = GPIO_NOPULL;
  GPIO_InitStruct.Speed = GPIO_SPEED_FREQ_VERY_HIGH;
  GPIO_InitStruct.Alternate = GPIO_AF10_OCTOSPI1;
  HAL_GPIO_Init(GPIOF, &GPIO_InitStruct);

  /*Configure GPIO pin : OCTOSPI_R_IO4_Pin */
  GPIO_InitStruct.Pin = OCTOSPI_R_IO4_Pin;
  GPIO_InitStruct.Mode = GPIO_MODE_AF_PP;
  GPIO_InitStruct.Pull = GPIO_NOPULL;
  GPIO_InitStruct.Speed = GPIO_SPEED_FREQ_VERY_HIGH;
  GPIO_InitStruct.Alternate = GPIO_AF3_OCTOSPI1;
  HAL_GPIO_Init(OCTOSPI_R_IO4_GPIO_Port, &GPIO_InitStruct);

  /*Configure GPIO pins : USB_C_P_Pin USB_C_PA11_Pin */
  GPIO_InitStruct.Pin = USB_C_P_Pin|USB_C_PA11_Pin;
  GPIO_InitStruct.Mode = GPIO_MODE_AF_PP;
  GPIO_InitStruct.Pull = GPIO_NOPULL;
  GPIO_InitStruct.Speed = GPIO_SPEED_FREQ_LOW;
  GPIO_InitStruct.Alternate = GPIO_AF10_USB;
  HAL_GPIO_Init(GPIOA, &GPIO_InitStruct);

  /*Configure GPIO pins : MIC_SDINx_Pin MIC_CCK0_Pin */
  GPIO_InitStruct.Pin = MIC_SDINx_Pin|MIC_CCK0_Pin;
  GPIO_InitStruct.Mode = GPIO_MODE_AF_PP;
  GPIO_InitStruct.Pull = GPIO_NOPULL;
  GPIO_InitStruct.Speed = GPIO_SPEED_FREQ_LOW;
  GPIO_InitStruct.Alternate = GPIO_AF3_ADF1;
  HAL_GPIO_Init(GPIOE, &GPIO_InitStruct);

  /*Configure GPIO pin : WRLS_WKUP_B_Pin */
  GPIO_InitStruct.Pin = WRLS_WKUP_B_Pin;
  GPIO_InitStruct.Mode = GPIO_MODE_OUTPUT_PP;
  GPIO_InitStruct.Pull = GPIO_NOPULL;
  GPIO_InitStruct.Speed = GPIO_SPEED_FREQ_LOW;
  HAL_GPIO_Init(WRLS_WKUP_B_GPIO_Port, &GPIO_InitStruct);

  /*Configure GPIO pins : WRLS_NOTIFY_Pin Mems_INT_IIS2MDC_Pin USB_IANA_Pin */
  GPIO_InitStruct.Pin = WRLS_NOTIFY_Pin|Mems_INT_IIS2MDC_Pin|USB_IANA_Pin;
  GPIO_InitStruct.Mode = GPIO_MODE_INPUT;
  GPIO_InitStruct.Pull = GPIO_NOPULL;
  HAL_GPIO_Init(GPIOD, &GPIO_InitStruct);

  /*Configure GPIO pin : OCTOSPI_R_IO6_Pin */
  GPIO_InitStruct.Pin = OCTOSPI_R_IO6_Pin;
  GPIO_InitStruct.Mode = GPIO_MODE_AF_PP;
  GPIO_InitStruct.Pull = GPIO_NOPULL;
  GPIO_InitStruct.Speed = GPIO_SPEED_FREQ_VERY_HIGH;
  GPIO_InitStruct.Alternate = GPIO_AF10_OCTOSPI1;
  HAL_GPIO_Init(OCTOSPI_R_IO6_GPIO_Port, &GPIO_InitStruct);

  /*Configure GPIO pins : OCTOSPI_R_CLK_P_Pin OCTOSPI_R_NCS_Pin */
  GPIO_InitStruct.Pin = OCTOSPI_R_CLK_P_Pin|OCTOSPI_R_NCS_Pin;
  GPIO_InitStruct.Mode = GPIO_MODE_AF_PP;
  GPIO_InitStruct.Pull = GPIO_NOPULL;
  GPIO_InitStruct.Speed = GPIO_SPEED_FREQ_VERY_HIGH;
  GPIO_InitStruct.Alternate = GPIO_AF10_OCTOSPI1;
  HAL_GPIO_Init(GPIOB, &GPIO_InitStruct);

  /*Configure GPIO pin : USB_VBUS_SENSE_Pin */
  GPIO_InitStruct.Pin = USB_VBUS_SENSE_Pin;
  GPIO_InitStruct.Mode = GPIO_MODE_INPUT;
  GPIO_InitStruct.Pull = GPIO_NOPULL;
  HAL_GPIO_Init(USB_VBUS_SENSE_GPIO_Port, &GPIO_InitStruct);

  /*Configure GPIO pin : WRLS_SPI2_NSS_Pin */
  GPIO_InitStruct.Pin = WRLS_SPI2_NSS_Pin;
  GPIO_InitStruct.Mode = GPIO_MODE_AF_PP;
  GPIO_InitStruct.Pull = GPIO_NOPULL;
  GPIO_InitStruct.Speed = GPIO_SPEED_FREQ_LOW;
  GPIO_InitStruct.Alternate = GPIO_AF5_SPI2;
  HAL_GPIO_Init(WRLS_SPI2_NSS_GPIO_Port, &GPIO_InitStruct);

  /*Configure GPIO pin : USB_UCPD_CC2_Pin */
  GPIO_InitStruct.Pin = USB_UCPD_CC2_Pin;
  GPIO_InitStruct.Mode = GPIO_MODE_ANALOG;
  GPIO_InitStruct.Pull = GPIO_NOPULL;
  HAL_GPIO_Init(USB_UCPD_CC2_GPIO_Port, &GPIO_InitStruct);

  /*Configure GPIO pins : Mems_STSAFE_RESET_Pin WRLS_WKUP_W_Pin */
  GPIO_InitStruct.Pin = Mems_STSAFE_RESET_Pin|WRLS_WKUP_W_Pin;
  GPIO_InitStruct.Mode = GPIO_MODE_OUTPUT_PP;
  GPIO_InitStruct.Pull = GPIO_NOPULL;
  GPIO_InitStruct.Speed = GPIO_SPEED_FREQ_LOW;
  HAL_GPIO_Init(GPIOF, &GPIO_InitStruct);

  /*Configure GPIO pin : Mems_ISM330DLC_INT1_Pin */
  GPIO_InitStruct.Pin = Mems_ISM330DLC_INT1_Pin;
  GPIO_InitStruct.Mode = GPIO_MODE_INPUT;
  GPIO_InitStruct.Pull = GPIO_NOPULL;
  HAL_GPIO_Init(Mems_ISM330DLC_INT1_GPIO_Port, &GPIO_InitStruct);

  /* EXTI interrupt init*/
  HAL_NVIC_SetPriority(EXTI6_IRQn, 0, 0);
  HAL_NVIC_EnableIRQ(EXTI6_IRQn);

}

/* USER CODE BEGIN 4 */

void HAL_MDF_AcqCpltCallback(MDF_HandleTypeDef *hmdf)
{
  // set flag to 1
  CPLT = 1;
}
void HAL_MDF_AcqHalfCpltCallback(MDF_HandleTypeDef *hmdf){
  HALFCPLT = 1;
}

void HAL_GPIO_EXTI_Rising_Callback(uint16_t button){
  NEXT_AUDIO = 1;
}

/* USER CODE END 4 */

void Error_Handler(void)
{
  __disable_irq();
  while (1)
  {
  }
}
